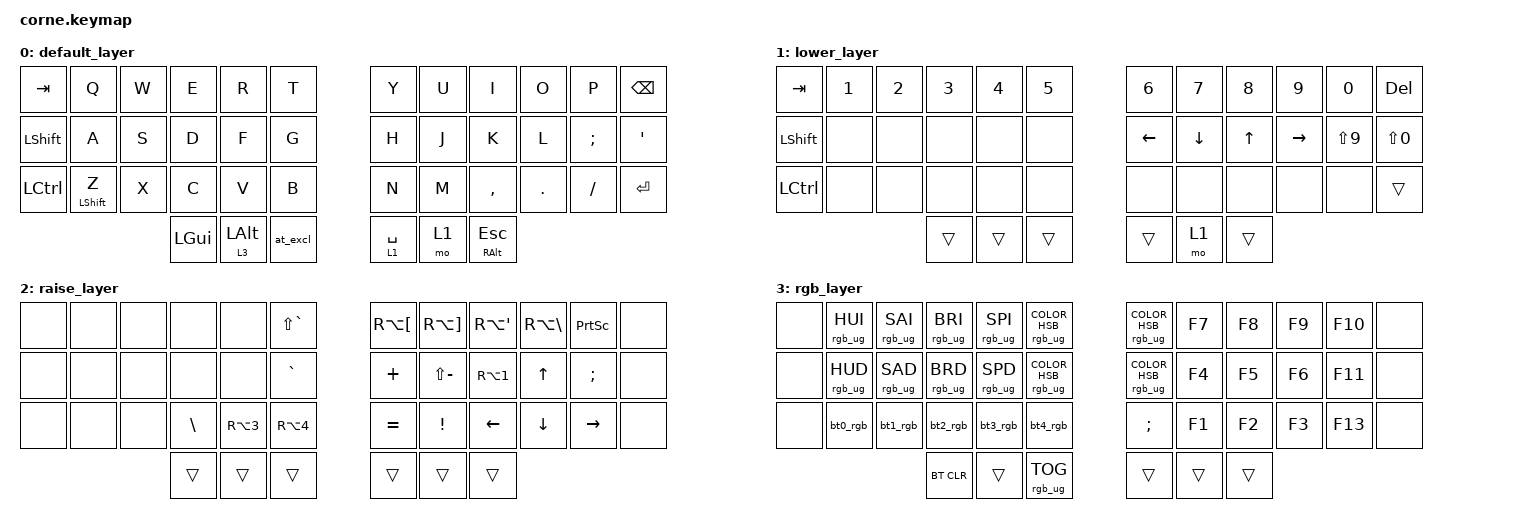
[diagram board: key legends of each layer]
/*
 * Corne 6x3 - ZMK
 * Adaptado de la configuración anterior de Vial
 */

#include <dt-bindings/zmk/modifiers.h>
#include <behaviors.dtsi>
#include <dt-bindings/zmk/bt.h>
#include <dt-bindings/zmk/keys.h>
#include <dt-bindings/zmk/rgb.h>

&nice_view_spi { cs-gpios = <&pro_micro 8 GPIO_ACTIVE_HIGH>; };

&led_strip { chain-length = <27>; };

/ {
    combos {
        compatible = "zmk,combos";

        combo_acute_n {
            timeout-ms = <300>;
            key-positions = <22 30>;
            bindings = <&n_tilde>;
        };

        combo_esc {
            timeout-ms = <50>;
            key-positions = <4 5>;
            bindings = <&kp ESC>;
        };

        combo_tab {
            timeout-ms = <50>;
            key-positions = <16 17>;
            bindings = <&kp TAB>;
        };

        combo_arr {
            timeout-ms = <50>;
            key-positions = <28 29>;
            bindings = <&kp RA(N2)>;
        };

        combo_BSPC1 {
            timeout-ms = <50>;
            key-positions = <18 19>;
            bindings = <&kp LC(BSPC)>;
        };

        combo_BSPC2 {
            timeout-ms = <50>;
            key-positions = <9 10>;
            bindings = <&kp BSPC>;
        };

        combo_num {
            timeout-ms = <50>;
            key-positions = <6 7>;
            bindings = <&tog 1>;
        };

        combo_ene {
            timeout-ms = <50>;
            key-positions = <21 22>;
            bindings = <&kp SEMI>;
        };

        combo_ene2 {
            timeout-ms = <50>;
            key-positions = <30 31>;
            bindings = <&kp SEMI>;
        };

        combo_suspende {
            timeout-ms = <50>;
            key-positions = <14 15 16>;
            bindings = <&win_sleep>;
        };

        combo_blqmayus {
            timeout-ms = <50>;
            key-positions = <25 26>;
            bindings = <&kp CLCK>;
        };

        combo_ctrolz {
            timeout-ms = <50>;
            key-positions = <15 16>;
            bindings = <&kp LC(Z)>;
        };
    };
};

/ {
    behaviors {
        // @ al pulsar normalmente
        // ! al pulsar con Shift

        at_excl: at_excl {
            compatible = "zmk,behavior-mod-morph";
            #binding-cells = <0>;
            bindings = <&kp AT_SIGN>, <&kp EXCLAMATION>;

            mods = <(MOD_LSFT | MOD_RSFT)>;
        };

        hold_tap {
            tapping-term-ms = <300>;
            flavor = "tap-preferred";
        };

        bt0_rgb: behavior_bt0_rgb {
            compatible = "zmk,behavior-macro";
            label = "BT0_RGB";
            #binding-cells = <0>;
            bindings = <&bt BT_SEL 0 &rgb_ug RGB_COLOR_HSB(300,100,5)>;
        };

        bt1_rgb: behavior_bt1_rgb {
            compatible = "zmk,behavior-macro";
            label = "BT1_RGB";
            #binding-cells = <0>;
            bindings = <&bt BT_SEL 1 &rgb_ug RGB_COLOR_HSB(180,100,5)>;
        };

        bt2_rgb: behavior_bt2_rgb {
            compatible = "zmk,behavior-macro";
            label = "BT2_RGB";
            #binding-cells = <0>;
            bindings = <&bt BT_SEL 2 &rgb_ug RGB_COLOR_HSB(0,100,5)>;
        };

        bt3_rgb: behavior_bt3_rgb {
            compatible = "zmk,behavior-macro";
            label = "BT3_RGB";
            #binding-cells = <0>;
            bindings = <&bt BT_SEL 3 &rgb_ug RGB_COLOR_HSB(120,100,5)>;
        };

        bt4_rgb: behavior_bt4_rgb {
            compatible = "zmk,behavior-macro";
            label = "BT4_RGB";
            #binding-cells = <0>;
            bindings = <&bt BT_SEL 4 &rgb_ug RGB_COLOR_HSB(45,100,5)>;
        };

        win_sleep: win_sleep {
            wait-ms = <500>;
            tap-ms = <5>;
            compatible = "zmk,behavior-macro";
            label = "WIN_SLEEP_KEY";
            #binding-cells = <0>;
            bindings = <&kp LG(X) &kp G &kp S>;
        };

        n_tilde: n_tilde {
            compatible = "zmk,behavior-macro";
            label = "ñ Macro";
            #binding-cells = <0>;
            bindings = <&kp SEMI>;
        };
    };
};

/ {
    macros {
    };

    keymap {
        compatible = "zmk,keymap";

        // ===================================
        // CAPA 0 - PRINCIPAL
        // ===================================
        //
        // IZQUIERDA       DERECHA
        // TAB Q W E R T   Y U I O P BSPC
        // SFT A S D F G   H J K L ; '
        // CTL Z X C V B   N M , . / @!
        //
        // Pulgares izquierda:
        // CMD / ALT-LAYER3 / ENTER-CTRL
        //
        // Pulgares derecha:
        // SPACE-LAYER1 / MO(1) / ESC-ALT

        default_layer {
            bindings = <
&kp TAB           &kp Q        &kp W  &kp E     &kp R           &kp T       &kp Y        &kp U  &kp I         &kp O    &kp P      &kp BSPC
&kp LEFT_SHIFT    &kp A        &kp S  &kp D     &kp F           &kp G       &kp H        &kp J  &kp K         &kp L    &kp SEMI   &kp SQT
&kp LEFT_CONTROL  &mt LSHFT Z  &kp X  &kp C     &kp V           &kp B       &kp N        &kp M  &kp COMMA     &kp DOT  &kp SLASH  &kp RET
                                      &kp LGUI  &lt 3 LEFT_ALT  &at_excl    &lt 1 SPACE  &mo 1  &mt RALT ESC
            >;
        };

        // ===================================
        // CAPA 1 - VIAL ANTERIOR
        // ===================================
        //
        // IZQUIERDA           DERECHA
        // TAB 1 2 3 4 5       6 7 8 9 0 DEL
        // SFT - - - - -       LEFT DOWN UP RIGHT ( )
        // CTL - - - - -       - - - - - @!
        //
        // Se conservan los accesos de pulgar.
        // Las teclas transparentes mantienen
        // la función de la capa 0.

        lower_layer {
            bindings = <
&kp TAB           &kp N1  &kp N2  &kp N3  &kp N4  &kp N5    &kp N6    &kp N7    &kp N8  &kp N9     &kp N0      &kp DEL
&kp LEFT_SHIFT    &none   &none   &none   &none   &none     &kp LEFT  &kp DOWN  &kp UP  &kp RIGHT  &kp LS(N9)  &kp LS(N0)
&kp LEFT_CONTROL  &none   &none   &none   &none   &none     &none     &none     &none   &none      &none       &trans
                                  &trans  &trans  &trans    &trans    &mo 1     &trans
            >;
        };

        // ===================================
        // CAPA 2 - ORIGINAL DEL CORNE
        // ===================================

        raise_layer {
            bindings = <
&none  &none  &none  &none     &none       &kp LS(GRAVE)    &kp RA(LBKT)  &kp RA(RBKT)   &kp RA(SQT)  &kp RA(BSLH)  &kp PSCRN  &none
&none  &none  &none  &none     &none       &kp GRAVE        &kp PLUS      &kp LS(MINUS)  &kp RA(N1)   &kp UP        &kp SEMI   &none
&none  &none  &none  &kp BSLH  &kp RA(N3)  &kp RA(N4)       &kp EQUAL     &kp EXCL       &kp LEFT     &kp DOWN      &kp RIGHT  &none
                     &trans    &trans      &trans           &trans        &trans         &trans
            >;
        };

        // ===================================
        // CAPA 3 - BLUETOOTH Y RGB
        // ===================================

        rgb_layer {
            bindings = <
&none  &rgb_ug RGB_HUI  &rgb_ug RGB_SAI  &rgb_ug RGB_BRI  &rgb_ug RGB_SPI  &rgb_ug RGB_COLOR_HSB(180,100,5)    &rgb_ug RGB_COLOR_HSB(180,100,2)  &kp F7  &kp F8  &kp F9  &kp F10  &none
&none  &rgb_ug RGB_HUD  &rgb_ug RGB_SAD  &rgb_ug RGB_BRD  &rgb_ug RGB_SPD  &rgb_ug RGB_COLOR_HSB(300,100,5)    &rgb_ug RGB_COLOR_HSB(300,100,2)  &kp F4  &kp F5  &kp F6  &kp F11  &none
&none  &bt0_rgb         &bt1_rgb         &bt2_rgb         &bt3_rgb         &bt4_rgb                            &kp SEMI                          &kp F1  &kp F2  &kp F3  &kp F13  &none
                                         &bt BT_CLR       &trans           &rgb_ug RGB_TOG                     &trans                            &trans  &trans
            >;
        };
    };
};
